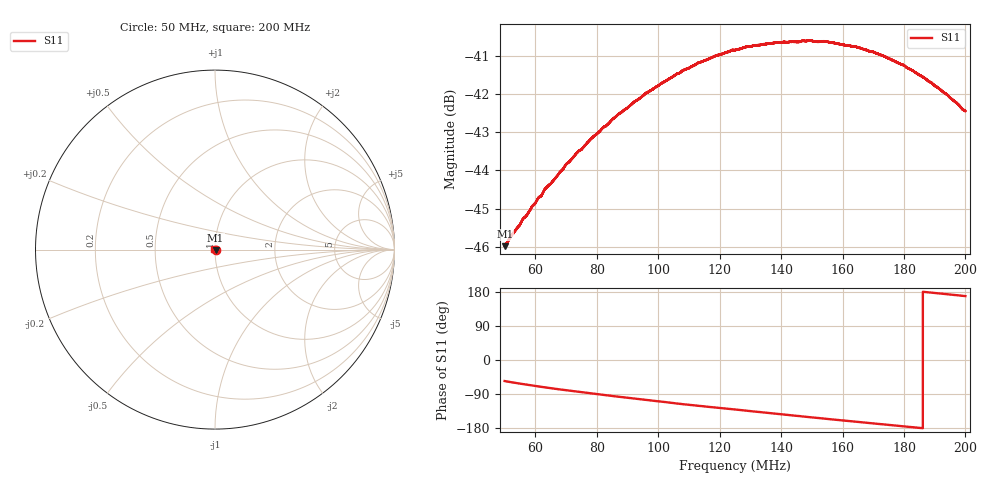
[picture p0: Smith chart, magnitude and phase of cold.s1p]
! COPPER MOUNTAIN TECHNOLOGIES, PLANAR TR1300/1, 00071119, 20.2.2/1.0
! Date: 1/7/2024 7:40:14 PM
! Data: Format [Calibration Info]
! Freq  S11: Re/Im F1
# HZ S RI R 50
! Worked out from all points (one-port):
!   12288 points, 50 MHz to 200 MHz, reference 50 ohm
!   lowest |S11| = -46.0 dB at 50.06 MHz (marker M1), VSWR 1.01, Z = 50.3 - j0.416 ohm
!   |S11| at or under -10 dB: start of sweep to end of sweep
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5e7  0.00284 -0.00414
5.006104e7  0.00284 -0.00414
5.067144e7  0.0028 -0.00423
6.327012e7  0.00181 -0.00569
6.55164e7  0.00159 -0.00588
6.875153e7  0.00127 -0.00619
7.350045e7  0.000783 -0.00661
7.538048e7  0.000565 -0.00672
7.805404e7  0.000232 -0.00693
8.750305e7  -0.00095 -0.00743
9.612192e7  -0.00211 -0.00768
1.062546e8  -0.00357 -0.00766
1.13323e8  -0.0045 -0.00748
1.18719e8  -0.00517 -0.00725
1.250061e8  -0.0059 -0.00688
1.286197e8  -0.00632 -0.00662
1.342964e8  -0.0069 -0.00612
1.437576e8  -0.00773 -0.00516
1.49239e8  -0.00814 -0.00454
1.541833e8  -0.00842 -0.00397
1.625092e8  -0.0087 -0.00293
1.645479e8  -0.00875 -0.00269
1.730081e8  -0.00878 -0.00161
1.812607e8  -0.00857 -0.00057
1.890372e8  -0.00821 0.000331
1.939814e8  -0.00788 0.000886
1.991454e8  -0.00745 0.00141
2e8  -0.00739 0.0015
